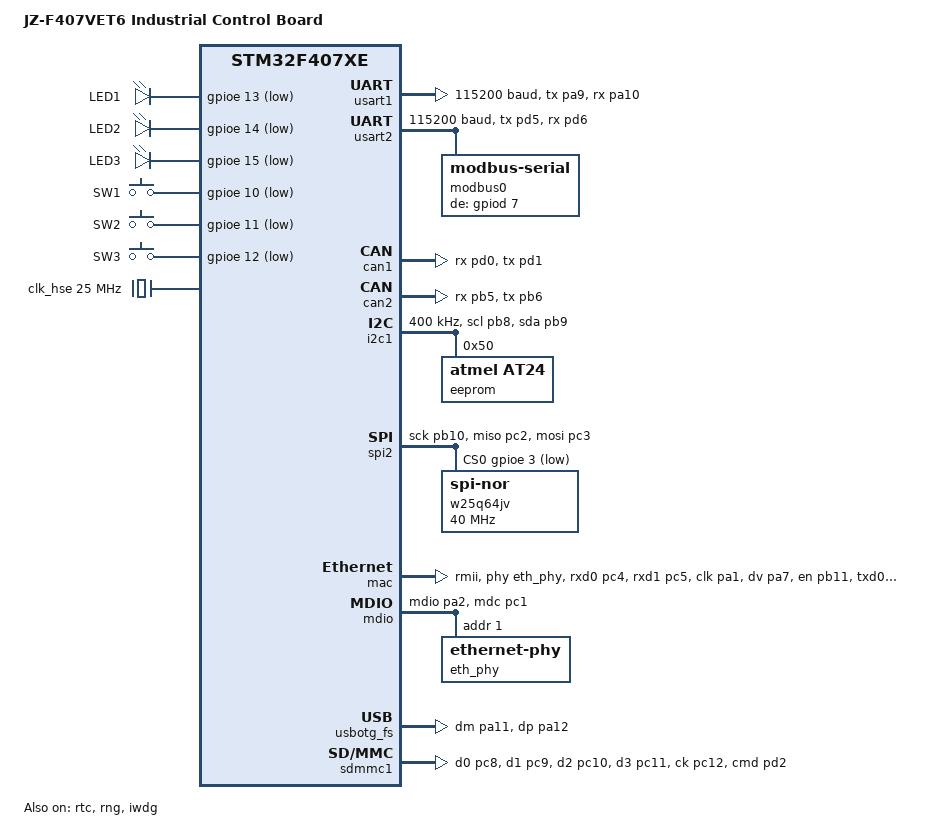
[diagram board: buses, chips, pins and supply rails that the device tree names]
/*
 * SPDX-FileCopyrightText: Copyright The Zephyr Project Contributors
 * SPDX-License-Identifier: Apache-2.0
 */

/dts-v1/;
#include <st/f4/stm32f407Xe.dtsi>
#include <st/f4/stm32f407v(e-g)tx-pinctrl.dtsi>
#include <zephyr/dt-bindings/input/input-event-codes.h>

/ {
	model = "JZ-F407VET6 Industrial Control Board";
	compatible = "jz_f407vet6";

	chosen {
		zephyr,console = &usart1;
		zephyr,shell-uart = &usart1;
		zephyr,sram = &sram0;
		zephyr,flash = &flash0;
		zephyr,dtcm = &ccm0;
	};

	leds {
		compatible = "gpio-leds";

		led_1: led_1 {
			gpios = <&gpioe 13 (GPIO_OPEN_DRAIN | GPIO_ACTIVE_LOW)>;
			label = "LED1";
		};

		led_2: led_2 {
			gpios = <&gpioe 14 (GPIO_OPEN_DRAIN | GPIO_ACTIVE_LOW)>;
			label = "LED2";
		};

		led_3: led_3 {
			gpios = <&gpioe 15 (GPIO_OPEN_DRAIN | GPIO_ACTIVE_LOW)>;
			label = "LED3";
		};
	};

	gpio_keys {
		compatible = "gpio-keys";

		sw_1: sw_1 {
			label = "SW1";
			gpios = <&gpioe 10 (GPIO_PULL_UP | GPIO_ACTIVE_LOW)>;
			zephyr,code = <INPUT_KEY_0>;
		};

		sw_2: sw_2 {
			label = "SW2";
			gpios = <&gpioe 11 (GPIO_PULL_UP | GPIO_ACTIVE_LOW)>;
			zephyr,code = <INPUT_KEY_1>;
		};

		sw_3: sw_3 {
			label = "SW3";
			gpios = <&gpioe 12 (GPIO_PULL_UP | GPIO_ACTIVE_LOW)>;
			zephyr,code = <INPUT_KEY_2>;
		};
	};

	aliases {
		led0 = &led_1;
		led1 = &led_2;
		led2 = &led_3;
		sw0 = &sw_1;
		sw1 = &sw_2;
		sw2 = &sw_3;
		watchdog0 = &iwdg;
		eeprom-0 = &eeprom;
		rtc = &rtc;
		sdhc0 = &sdmmc1;
	};
};

&clk_lsi {
	status = "okay";
};

&clk_lse {
	status = "okay";
};

&clk_hse {
	clock-frequency = <DT_FREQ_M(25)>;
	status = "okay";
};

&pll {
	div-m = <25>;
	mul-n = <336>;
	div-p = <2>;
	div-q = <7>;
	clocks = <&clk_hse>;
	status = "okay";
};

&rcc {
	clocks = <&pll>;
	clock-frequency = <DT_FREQ_M(168)>;
	ahb-prescaler = <1>;
	apb1-prescaler = <4>;
	apb2-prescaler = <2>;
};

&rtc {
	clocks = <&rcc STM32_CLOCK(APB1, 28)>,
		 <&rcc STM32_SRC_LSE RTC_SEL(1)>;
	status = "okay";

	backup_regs {
		status = "okay";
	};
};

&usart1 {
	pinctrl-0 = <&usart1_tx_pa9 &usart1_rx_pa10>;
	pinctrl-names = "default";
	current-speed = <115200>;
	status = "okay";
};

&usart2 {
	pinctrl-0 = <&usart2_tx_pd5 &usart2_rx_pd6>;
	pinctrl-names = "default";
	current-speed = <115200>;
	status = "okay";

	modbus0 {
		compatible = "zephyr,modbus-serial";
		de-gpios = <&gpiod 7 GPIO_ACTIVE_HIGH>;
	};
};

&can1 {
	pinctrl-0 = <&can1_rx_pd0 &can1_tx_pd1>;
	pinctrl-names = "default";
	status = "okay";
};

&can2 {
	pinctrl-0 = <&can2_rx_pb5 &can2_tx_pb6>;
	pinctrl-names = "default";
	status = "okay";
};

&i2c1 {
	clock-frequency = <I2C_BITRATE_FAST>;
	pinctrl-0 = <&i2c1_scl_pb8 &i2c1_sda_pb9>;
	pinctrl-names = "default";
	scl-gpios = <&gpiob 8 GPIO_ACTIVE_HIGH>;
	sda-gpios = <&gpiob 9 GPIO_ACTIVE_HIGH>;
	status = "okay";

	eeprom: eeprom@50 {
		compatible = "atmel,at24";
		reg = <0x50>;
		size = <256>;
		pagesize = <8>;
		address-width = <8>;
		timeout = <5>;
		status = "okay";
	};
};

&spi2 {
	pinctrl-0 = <&spi2_sck_pb10 &spi2_miso_pc2 &spi2_mosi_pc3>;
	pinctrl-names = "default";
	cs-gpios = <&gpioe 3 GPIO_ACTIVE_LOW>;
	status = "okay";

	w25q64jv: spi-nor-flash@0 {
		compatible = "jedec,spi-nor";
		size = <DT_SIZE_M(64)>;
		spi-max-frequency = <DT_FREQ_M(40)>;
		jedec-id = [ef 40 17];
		has-dpd;
		t-enter-dpd = <3500>;
		t-exit-dpd = <3500>;
		reg = <0>;
		status = "okay";
	};
};

&mac {
	status = "okay";
	pinctrl-0 = <&eth_rxd0_pc4
		     &eth_rxd1_pc5
		     &eth_ref_clk_pa1
		     &eth_crs_dv_pa7
		     &eth_tx_en_pb11
		     &eth_txd0_pb12
		     &eth_txd1_pb13>;
	pinctrl-names = "default";
	phy-connection-type = "rmii";
	phy-handle = <&eth_phy>;
};

&mdio {
	status = "okay";
	pinctrl-0 = <&eth_mdio_pa2 &eth_mdc_pc1>;
	pinctrl-names = "default";

	eth_phy: ethernet-phy@1 {
		compatible = "ethernet-phy";
		reg = <1>;
	};
};

zephyr_udc0: &usbotg_fs {
	pinctrl-0 = <&usb_otg_fs_dm_pa11 &usb_otg_fs_dp_pa12>;
	pinctrl-names = "default";
	status = "okay";
};

zephyr_uhc0: &usbotg_hs {
	pinctrl-0 = <&usb_otg_hs_dm_pb14 &usb_otg_hs_dp_pb15>;
	pinctrl-names = "default";
	status = "disabled";
};

&sdmmc1 {
	status = "okay";
	pinctrl-0 = <&sdio_d0_pc8 &sdio_d1_pc9
		     &sdio_d2_pc10 &sdio_d3_pc11
		     &sdio_ck_pc12 &sdio_cmd_pd2>;
	pinctrl-names = "default";
	cd-gpios = <&gpiod 3 (GPIO_ACTIVE_LOW | GPIO_PULL_UP)>;
	disk-name = "SD";
};

&rng {
	status = "okay";
};

&backup_sram {
	status = "okay";
};

&iwdg {
	status = "okay";
};
